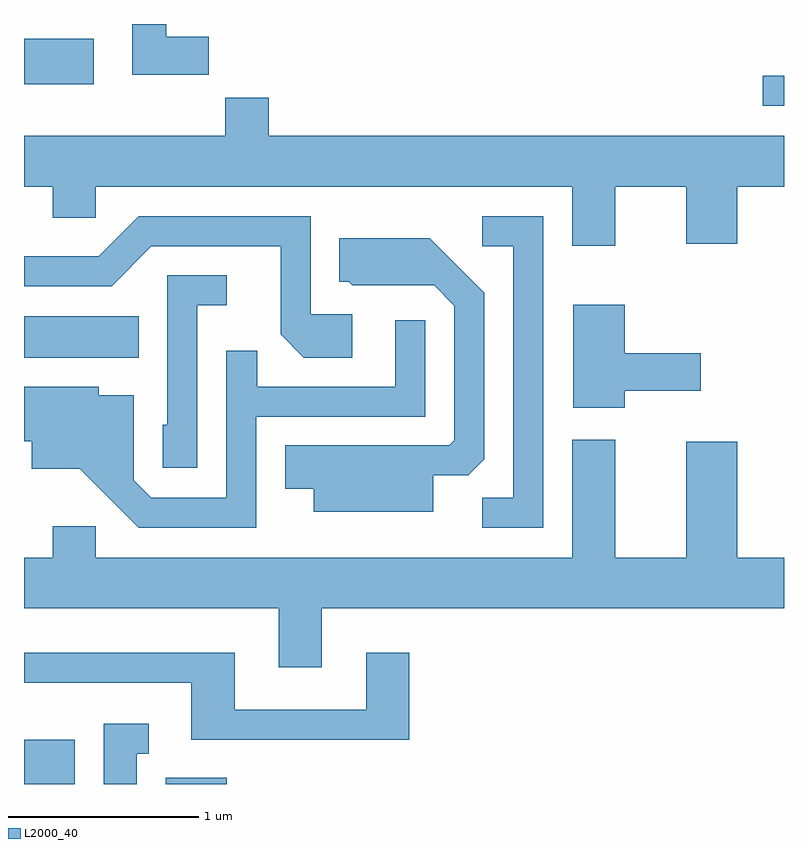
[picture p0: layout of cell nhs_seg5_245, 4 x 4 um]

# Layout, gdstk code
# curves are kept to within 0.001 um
import gdstk
lib = gdstk.Library(unit=1e-6, precision=1e-09)
def R(c, l, rs):  # rectangles x0, y0, x1, y1
    for r in rs: c.add(gdstk.rectangle(r[:2], r[2:], *l))
def P(c, l, *ps):  # polygons
    for p in ps: c.add(gdstk.Polygon(p, *l))
L2000_40 = (2000, 40)

nhs_seg5_245 = lib.new_cell('nhs_seg5_245')
R(nhs_seg5_245, L2000_40, [(191.611,1478.072,191.879,1478.304), (192.356,1478.072,192.679,1478.104), (191.611,1480.316,192.214,1480.534), (195.498,1481.641,195.611,1481.799), (191.611,1481.756,191.979,1481.994)])
P(nhs_seg5_245, L2000_40, [(192.584,1482.004),(192.359,1482.004),(192.359,1482.072),(192.181,1482.072),(192.181,1481.806),(192.584,1481.806)],
  [(194.724,1481.216),(195.096,1481.216),(195.096,1480.916),(195.364,1480.916),(195.364,1481.216),(195.611,1481.216),(195.611,1481.484),(192.899,1481.484),(192.899,1481.684),(192.671,1481.684),(192.671,1481.484),(191.611,1481.484),(191.611,1481.216),(191.761,1481.216),(191.761,1481.051),(191.989,1481.051),(191.989,1481.216),(194.496,1481.216),(194.496,1480.906),(194.724,1480.906)],
  [(194.344,1481.059),(194.023,1481.059),(194.023,1480.901),(194.186,1480.901),(194.186,1479.579),(194.023,1479.579),(194.023,1479.421),(194.344,1479.421)],
  [(193.339,1480.544),(193.119,1480.544),(193.119,1481.059),(192.214,1481.059),(192.004,1480.849),(191.611,1480.849),(191.611,1480.691),(192.072,1480.691),(192.282,1480.901),(192.961,1480.901),(192.961,1480.439),(193.084,1480.316),(193.339,1480.316)],
  [(193.764,1479.696),(193.949,1479.696),(194.034,1479.782),(194.034,1480.657),(193.747,1480.944),(193.271,1480.944),(193.271,1480.716),(193.319,1480.716),(193.339,1480.696),(193.769,1480.696),(193.876,1480.589),(193.876,1479.882),(193.849,1479.854),(192.986,1479.854),(192.986,1479.626),(193.136,1479.626),(193.136,1479.506),(193.764,1479.506)],
  [(192.524,1480.591),(192.678,1480.591),(192.678,1480.749),(192.366,1480.749),(192.366,1479.964),(192.341,1479.964),(192.341,1479.736),(192.524,1479.736)],
  [(194.774,1480.141),(195.174,1480.141),(195.174,1480.339),(194.774,1480.339),(194.774,1480.594),(194.501,1480.594),(194.501,1480.051),(194.774,1480.051)],
  [(192.834,1480.006),(193.724,1480.006),(193.724,1480.513),(193.566,1480.513),(193.566,1480.164),(192.839,1480.164),(192.839,1480.353),(192.676,1480.353),(192.676,1479.579),(192.282,1479.579),(192.189,1479.672),(192.189,1480.119),(192.004,1480.119),(192.004,1480.164),(191.611,1480.164),(191.611,1479.876),(191.651,1479.876),(191.651,1479.731),(191.904,1479.731),(192.214,1479.421),(192.834,1479.421)],
  [(193.179,1478.996),(195.611,1478.996),(195.611,1479.264),(195.364,1479.264),(195.364,1479.874),(195.096,1479.874),(195.096,1479.264),(194.724,1479.264),(194.724,1479.884),(194.496,1479.884),(194.496,1479.264),(191.989,1479.264),(191.989,1479.429),(191.761,1479.429),(191.761,1479.264),(191.611,1479.264),(191.611,1478.996),(192.951,1478.996),(192.951,1478.686),(193.179,1478.686)],
  [(193.639,1478.764),(193.411,1478.764),(193.411,1478.464),(192.719,1478.464),(192.719,1478.764),(191.611,1478.764),(191.611,1478.606),(192.491,1478.606),(192.491,1478.306),(193.639,1478.306)],
  [(192.204,1478.231),(192.268,1478.231),(192.268,1478.389),(192.031,1478.389),(192.031,1478.072),(192.204,1478.072)])

lib.write_gds('nhs_seg5_245.gds')
